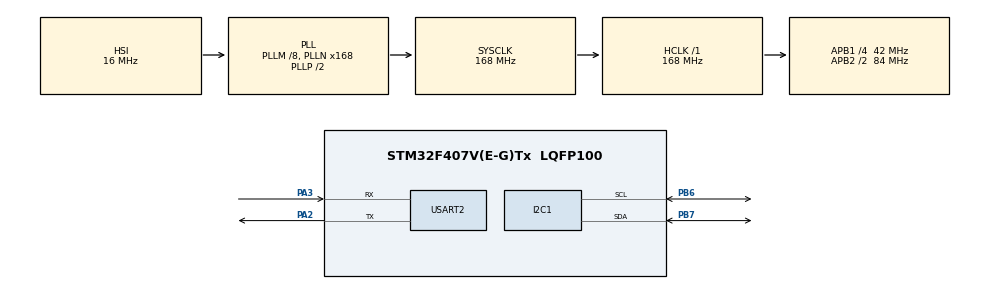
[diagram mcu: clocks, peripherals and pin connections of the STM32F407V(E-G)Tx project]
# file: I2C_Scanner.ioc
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Mcu.Family=STM32F4
Mcu.Name=STM32F407V(E-G)Tx
Mcu.Package=LQFP100
NVIC.PriorityGroup=NVIC_PRIORITYGROUP_4
PA2.Mode=Asynchronous
PA2.Signal=USART2_TX
PA3.Mode=Asynchronous
PA3.Signal=USART2_RX
PB6.Mode=I2C
PB6.Signal=I2C1_SCL
PB7.Mode=I2C
PB7.Signal=I2C1_SDA
ProjectManager.HeapSize=0x200
ProjectManager.StackSize=0x400
ProjectManager.TargetToolchain=STM32CubeIDE
RCC.48MHZClocksFreq_Value=84000000
RCC.AHBFreq_Value=168000000
RCC.APB1CLKDivider=RCC_HCLK_DIV4
RCC.APB1Freq_Value=42000000
RCC.APB1TimFreq_Value=84000000
RCC.APB2CLKDivider=RCC_HCLK_DIV2
RCC.APB2Freq_Value=84000000
RCC.APB2TimFreq_Value=168000000
RCC.CortexFreq_Value=168000000
RCC.HCLKFreq_Value=168000000
RCC.HSE_VALUE=25000000
RCC.HSI_VALUE=16000000
RCC.LSE_VALUE=32768
RCC.PLLM=8
RCC.PLLN=168
RCC.SYSCLKFreq_VALUE=168000000
RCC.SYSCLKSource=RCC_SYSCLKSOURCE_PLLCLK
RCC.VCOOutputFreq_Value=336000000
USART2.VirtualMode=VM_ASYNC
board=custom

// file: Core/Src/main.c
/* USER CODE BEGIN Header */
/**
  ******************************************************************************
  * @file           : main.c
  * @brief          : Main program body
  ******************************************************************************
  * @attention
  *
  * Copyright (c) 2025 STMicroelectronics.
  * All rights reserved.
  *
  * This software is licensed under terms that can be found in the LICENSE file
  * in the root directory of this software component.
  * If no LICENSE file comes with this software, it is provided AS-IS.
  *
  ******************************************************************************
  */
/* USER CODE END Header */
#include "main.h"
#include <string.h>
#include <stdio.h>

/* USER CODE BEGIN PD */
#define I2C_MIN_ADDR_7BIT       0x01
#define I2C_MAX_ADDR_7BIT       0x7F
#define I2C_SCAN_TIMEOUT_MS     10
/* USER CODE END PD */

I2C_HandleTypeDef hi2c1;

UART_HandleTypeDef huart2;

void SystemClock_Config(void);
static void MX_GPIO_Init(void);
static void MX_I2C1_Init(void);
static void MX_USART2_UART_Init(void);
/* USER CODE BEGIN PFP */
void UART_Print(char *str);
/* USER CODE END PFP */

/* USER CODE BEGIN 0 */
void UART_Print(char *str) {
    HAL_UART_Transmit(&huart2, (uint8_t*)str, strlen(str), HAL_MAX_DELAY);
}
/* USER CODE END 0 */

int main(void)
{

  /* MCU Configuration--------------------------------------------------------*/

  /* Reset of all peripherals, Initializes the Flash interface and the Systick. */
  HAL_Init();

  /* Configure the system clock */
  SystemClock_Config();

  /* Initialize all configured peripherals */
  MX_GPIO_Init();
  MX_I2C1_Init();
  MX_USART2_UART_Init();
  /* USER CODE BEGIN 2 */
  char msg[60];
  uint8_t i2c_addr;

  UART_Print("I2C Scanner Started...\r\n");
  UART_Print("Scanning 7-bit addresses from 0x01 to 0x7F...\r\n\r\n");

  for (i2c_addr = I2C_MIN_ADDR_7BIT; i2c_addr <= I2C_MAX_ADDR_7BIT; i2c_addr++) {
      if (HAL_I2C_IsDeviceReady(&hi2c1, (uint16_t)(i2c_addr << 1), 1, I2C_SCAN_TIMEOUT_MS) == HAL_OK) {
          // Device found
          sprintf(msg, "  Device found at address: 0x%02X\r\n", i2c_addr);
          UART_Print(msg);
      } else{

      }

      HAL_Delay(5);
  }

  UART_Print("\r\nI2C Scan Completed.\r\n");
  /* USER CODE END 2 */

  /* Infinite loop */
  while (1)
  {

  }
}

void SystemClock_Config(void)
{
  RCC_OscInitTypeDef RCC_OscInitStruct = {0};
  RCC_ClkInitTypeDef RCC_ClkInitStruct = {0};

  /** Configure the main internal regulator output voltage
  */
  __HAL_RCC_PWR_CLK_ENABLE();
  __HAL_PWR_VOLTAGESCALING_CONFIG(PWR_REGULATOR_VOLTAGE_SCALE1);

  /** Initializes the RCC Oscillators according to the specified parameters
  * in the RCC_OscInitTypeDef structure.
  */
  RCC_OscInitStruct.OscillatorType = RCC_OSCILLATORTYPE_HSI;
  RCC_OscInitStruct.HSIState = RCC_HSI_ON;
  RCC_OscInitStruct.HSICalibrationValue = RCC_HSICALIBRATION_DEFAULT;
  RCC_OscInitStruct.PLL.PLLState = RCC_PLL_ON;
  RCC_OscInitStruct.PLL.PLLSource = RCC_PLLSOURCE_HSI;
  RCC_OscInitStruct.PLL.PLLM = 8;
  RCC_OscInitStruct.PLL.PLLN = 168;
  RCC_OscInitStruct.PLL.PLLP = RCC_PLLP_DIV2;
  RCC_OscInitStruct.PLL.PLLQ = 4;
  if (HAL_RCC_OscConfig(&RCC_OscInitStruct) != HAL_OK)
  {
    Error_Handler();
  }

  /** Initializes the CPU, AHB and APB buses clocks
  */
  RCC_ClkInitStruct.ClockType = RCC_CLOCKTYPE_HCLK|RCC_CLOCKTYPE_SYSCLK
                              |RCC_CLOCKTYPE_PCLK1|RCC_CLOCKTYPE_PCLK2;
  RCC_ClkInitStruct.SYSCLKSource = RCC_SYSCLKSOURCE_PLLCLK;
  RCC_ClkInitStruct.AHBCLKDivider = RCC_SYSCLK_DIV1;
  RCC_ClkInitStruct.APB1CLKDivider = RCC_HCLK_DIV4;
  RCC_ClkInitStruct.APB2CLKDivider = RCC_HCLK_DIV2;

  if (HAL_RCC_ClockConfig(&RCC_ClkInitStruct, FLASH_LATENCY_5) != HAL_OK)
  {
    Error_Handler();
  }
}

static void MX_I2C1_Init(void)
{

  hi2c1.Instance = I2C1;
  hi2c1.Init.ClockSpeed = 100000;
  hi2c1.Init.DutyCycle = I2C_DUTYCYCLE_2;
  hi2c1.Init.OwnAddress1 = 0;
  hi2c1.Init.AddressingMode = I2C_ADDRESSINGMODE_7BIT;
  hi2c1.Init.DualAddressMode = I2C_DUALADDRESS_DISABLE;
  hi2c1.Init.OwnAddress2 = 0;
  hi2c1.Init.GeneralCallMode = I2C_GENERALCALL_DISABLE;
  hi2c1.Init.NoStretchMode = I2C_NOSTRETCH_DISABLE;
  if (HAL_I2C_Init(&hi2c1) != HAL_OK)
  {
    Error_Handler();
  }

}

static void MX_USART2_UART_Init(void)
{

  huart2.Instance = USART2;
  huart2.Init.BaudRate = 115200;
  huart2.Init.WordLength = UART_WORDLENGTH_8B;
  huart2.Init.StopBits = UART_STOPBITS_1;
  huart2.Init.Parity = UART_PARITY_NONE;
  huart2.Init.Mode = UART_MODE_TX_RX;
  huart2.Init.HwFlowCtl = UART_HWCONTROL_NONE;
  huart2.Init.OverSampling = UART_OVERSAMPLING_16;
  if (HAL_UART_Init(&huart2) != HAL_OK)
  {
    Error_Handler();
  }

}

static void MX_GPIO_Init(void)
{

  /* GPIO Ports Clock Enable */
  __HAL_RCC_GPIOA_CLK_ENABLE();
  __HAL_RCC_GPIOB_CLK_ENABLE();

}

void Error_Handler(void)
{
  __disable_irq();
  while (1)
  {
  }
}
